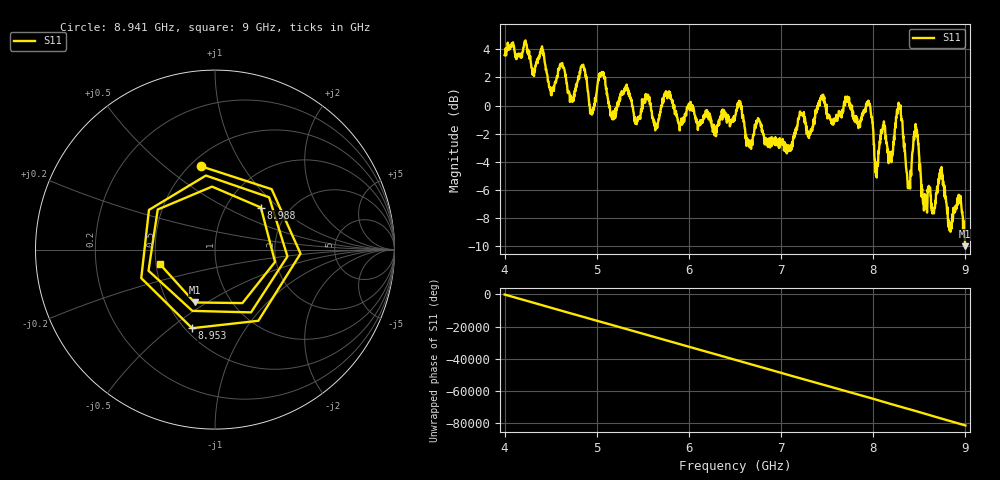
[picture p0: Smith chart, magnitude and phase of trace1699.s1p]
! Created with skrf 1.8.0 (http://scikit-rf.org).
# Hz S RI R 50.0
!freq ReS11 ImS11
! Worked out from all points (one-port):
!   1601 points, 4 GHz to 9 GHz, reference 50 ohm
!   lowest |S11| = -10.0 dB at 8.997 GHz (marker M1), VSWR 1.92, Z = 33.9 - j22.2 ohm
!   |S11| at or under -10 dB: 8.99693 GHz to 8.997634 GHz (704.5 kHz wide, 0.00783 % of centre)
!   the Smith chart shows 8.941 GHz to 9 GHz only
!   S11 on the Smith chart (normalised r, x): 8.941 GHz: 0.56, +0.67; 8.953 GHz: 0.54, -0.60; 8.988 GHz: 1.44, +0.77; 9 GHz: 0.52, -0.09
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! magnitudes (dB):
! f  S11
! 4 GHz  3.6
! 4.403 GHz  4.0
! 4.509 GHz  0.7
! 4.625 GHz  3.0
! 4.731 GHz  0.3
! 4.85 GHz  2.9
! 4.944 GHz  -0.5
! 5.05 GHz  2.2
! 5.169 GHz  -0.7
! 5.25 GHz  0.6
! 5.875 GHz  -0.8
! 6.5 GHz  -0.8
! 7.125 GHz  -2.7
! 7.75 GHz  0.1
! 7.953 GHz  0.1
! 8.038 GHz  -5.1
! 8.191 GHz  -3.7
! 8.281 GHz  0.0
! 8.375 GHz  -5.8
! 8.462 GHz  -1.5
! 8.562 GHz  -7.1
! 8.734 GHz  -4.9
! 8.834 GHz  -8.7
! 8.941 GHz  -6.5
! 8.953 GHz  -6.8
! 8.988 GHz  -9.2
! 8.997 GHz  -10.0
! 9 GHz  -10.0
